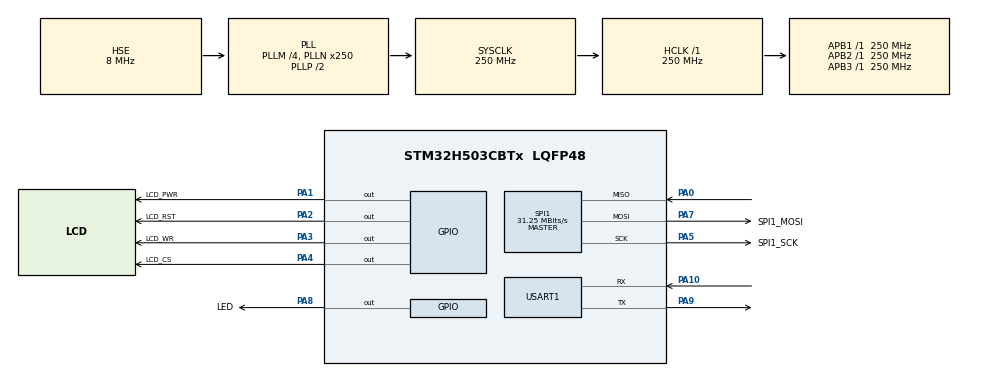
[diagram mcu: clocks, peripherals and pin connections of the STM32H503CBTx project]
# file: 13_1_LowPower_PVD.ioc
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BOOTPATH.BootPathName=LEGACY
BOOTPATH.UserSelectedBootPath=LEGACY
Mcu.Family=STM32H5
Mcu.Name=STM32H503CBTx
Mcu.Package=LQFP48
NVIC.PriorityGroup=NVIC_PRIORITYGROUP_4
NVIC.USART1_IRQn=true\:3\:0\:true\:false\:true\:true\:true\:true
PA0.Mode=Full_Duplex_Master
PA0.Signal=SPI1_MISO
PA1.GPIO_Label=LCD_PWR
PA1.GPIO_PuPd=GPIO_PULLUP
PA1.GPIO_Speed=GPIO_SPEED_FREQ_HIGH
PA1.PinState=GPIO_PIN_SET
PA1.Signal=GPIO_Output
PA10.GPIO_PuPd=GPIO_NOPULL
PA10.Mode=Asynchronous
PA10.Signal=USART1_RX
PA2.GPIO_Label=LCD_RST
PA2.GPIO_PuPd=GPIO_PULLUP
PA2.GPIO_Speed=GPIO_SPEED_FREQ_HIGH
PA2.PinState=GPIO_PIN_SET
PA2.Signal=GPIO_Output
PA3.GPIO_Label=LCD_WR
PA3.GPIO_ModeDefaultOutputPP=GPIO_MODE_OUTPUT_PP
PA3.GPIO_PuPd=GPIO_PULLUP
PA3.GPIO_Speed=GPIO_SPEED_FREQ_HIGH
PA3.PinState=GPIO_PIN_SET
PA3.Signal=GPIO_Output
PA4.GPIO_Label=LCD_CS
PA4.GPIO_PuPd=GPIO_PULLUP
PA4.GPIO_Speed=GPIO_SPEED_FREQ_HIGH
PA4.PinState=GPIO_PIN_SET
PA4.Signal=GPIO_Output
PA5.GPIO_Label=SPI1_SCK
PA5.GPIO_PuPd=GPIO_PULLUP
PA5.GPIO_Speed=GPIO_SPEED_FREQ_VERY_HIGH
PA5.Mode=Full_Duplex_Master
PA5.Signal=SPI1_SCK
PA7.GPIO_Label=SPI1_MOSI
PA7.GPIO_PuPd=GPIO_PULLUP
PA7.GPIO_Speed=GPIO_SPEED_FREQ_VERY_HIGH
PA7.Mode=Full_Duplex_Master
PA7.Signal=SPI1_MOSI
PA8.GPIO_Label=LED
PA8.GPIO_ModeDefaultOutputPP=GPIO_MODE_OUTPUT_PP
PA8.GPIO_PuPd=GPIO_PULLUP
PA8.PinState=GPIO_PIN_SET
PA8.Signal=GPIO_Output
PA9.GPIO_Speed=GPIO_SPEED_FREQ_HIGH
PA9.Mode=Asynchronous
PA9.Signal=USART1_TX
PC14-OSC32_IN(OSC32_IN).Mode=LSE-External-Oscillator
PC14-OSC32_IN(OSC32_IN).Signal=RCC_OSC32_IN
PC15-OSC32_OUT(OSC32_OUT).Mode=LSE-External-Oscillator
PC15-OSC32_OUT(OSC32_OUT).Signal=RCC_OSC32_OUT
PH0-OSC_IN(PH0).Mode=HSE-External-Oscillator
PH0-OSC_IN(PH0).Signal=RCC_OSC_IN
PH1-OSC_OUT(PH1).Mode=HSE-External-Oscillator
PH1-OSC_OUT(PH1).Signal=RCC_OSC_OUT
ProjectManager.HeapSize=0x200
ProjectManager.StackSize=0x400
ProjectManager.TargetToolchain=STM32CubeIDE
RCC.ADCFreq_Value=250000000
RCC.AHBFreq_Value=250000000
RCC.APB1Freq_Value=250000000
RCC.APB1TimFreq_Value=250000000
RCC.APB2Freq_Value=250000000
RCC.APB2TimFreq_Value=250000000
RCC.APB3Freq_Value=250000000
RCC.CSI_VALUE=4000000
RCC.CortexFreq_Value=250000000
RCC.EPOD_VALUE=8000000
RCC.HCLKFreq_Value=250000000
RCC.HSE_VALUE=8000000
RCC.HSI48_VALUE=48000000
RCC.HSI_VALUE=64000000
RCC.LSIRC_VALUE=32000
RCC.PLLM=4
RCC.PLLN=250
RCC.PLLSourceVirtual=RCC_PLL1_SOURCE_HSE
RCC.SYSCLKFreq_VALUE=250000000
RCC.SYSCLKSource=RCC_SYSCLKSOURCE_PLLCLK
RCC.USBFreq_Value=48000000
RCC.VCOOutputFreq_Value=500000000
SPI1.BaudRatePrescaler=SPI_BAUDRATEPRESCALER_8
SPI1.CalculateBaudRate=31.25 MBits/s
SPI1.DataSize=SPI_DATASIZE_8BIT
SPI1.Direction=SPI_DIRECTION_2LINES
SPI1.Mode=SPI_MODE_MASTER
SPI1.VirtualType=VM_MASTER
USART1.VirtualMode=VM_ASYNC
VP_BOOTPATH_VS_BOOTPATH.Mode=BP_Activate
VP_ICACHE_VS_ICACHE.Mode=DefaultMode
VP_MEMORYMAP_VS_MEMORYMAP.Mode=CurAppReg
VP_PWR_VS_DBSignals.Mode=DisableDeadBatterySignals
VP_PWR_VS_LPOM.Mode=PowerOptimisation
VP_PWR_VS_SECSignals.Mode=Security/Privilege
board=custom

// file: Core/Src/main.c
/**
 ****************************************************************************************************
 * @file        main.c
 * @author      ALIENTEK
 * @brief       PVD voltage monitoring code
 * @license     Copyright (C) 2012-2024, ALIENTEK
 ****************************************************************************************************
 * @attention
 *
 * platform     : ALIENTEK M48-STM32H503 board
 * website      : www.alientek.com
 * forum        : www.openedv.com/forum.php
 *
 * change logs  ：
 * version      data         notes
 * V1.0         20240309     the first version
 *
 ****************************************************************************************************
 */

/* USER CODE BEGIN Header */

/* USER CODE END Header */
#include "main.h"
#include "icache.h"
#include "memorymap.h"
#include "spi.h"
#include "usart.h"
#include "gpio.h"

/* USER CODE BEGIN Includes */
#include "stdio.h"
#include "../../BSP/PWR/pwr.h"
#include "../../BSP/LED/led.h"
#include "../../BSP/LCD/lcd.h"
/* USER CODE END Includes */

void SystemClock_Config(void);

/* USER CODE BEGIN 0 */
/**
 * @brief   Displays information about the experiment
 * @param   None
 * @retval  None
 */
void stm32h503cb_show_mesg(void)
{
	/* The serial port outputs the experimental information */
	printf("\n");
	printf("********************************\r\n");
	printf("STM32H503\r\n");
	printf("PVD Test\r\n");
	printf("ATOM@ALIENTEK\r\n");
	printf("********************************\r\n");
	printf("\r\n");
}
/* USER CODE END 0 */

int main(void)
{
  /* USER CODE BEGIN 1 */
	uint8_t t = 0;
  /* USER CODE END 1 */

  /* MCU Configuration--------------------------------------------------------*/

  /* Reset of all peripherals, Initializes the Flash interface and the Systick. */
  HAL_Init();

  /* Configure the system clock */
  SystemClock_Config();

  /* Initialize all configured peripherals */
  MX_GPIO_Init();
  MX_ICACHE_Init();
  MX_SPI1_Init();
  MX_USART1_UART_Init();
  /* USER CODE BEGIN 2 */
  pwr_pvd_init(PWR_PVDLEVEL_5);
  stm32h503cb_show_mesg();
  lcd_init();
  lcd_show_string(0, 5, 240, 32, 32, "STM32H503CBT6", RED);
  lcd_show_string(0, 34, 240, 24, 24, "PVD", RED);
  lcd_show_string(0, 60, 240, 16, 16, "ATOM@ALIENTEK", RED);
  /* The default LCD display voltage is normal */
  lcd_show_string(30, 110, 200, 16, 16, "PVD Voltage OK! ", BLUE);
  /* USER CODE END 2 */

  /* Infinite loop */
  /* USER CODE BEGIN WHILE */
  while (1)
  {
	  if ((t % 20) == 0)
	  {
	      LED_TOGGLE();   /* LED state is flipped */
	  }

	  t++;
	  HAL_Delay(500);

    /* USER CODE END WHILE */

  }
}

void SystemClock_Config(void)
{
  RCC_OscInitTypeDef RCC_OscInitStruct = {0};
  RCC_ClkInitTypeDef RCC_ClkInitStruct = {0};

  /** Configure the main internal regulator output voltage
  */
  __HAL_PWR_VOLTAGESCALING_CONFIG(PWR_REGULATOR_VOLTAGE_SCALE0);

  while(!__HAL_PWR_GET_FLAG(PWR_FLAG_VOSRDY)) {}

  /** Initializes the RCC Oscillators according to the specified parameters
  * in the RCC_OscInitTypeDef structure.
  */
  RCC_OscInitStruct.OscillatorType = RCC_OSCILLATORTYPE_HSE;
  RCC_OscInitStruct.HSEState = RCC_HSE_ON;
  RCC_OscInitStruct.PLL.PLLState = RCC_PLL_ON;
  RCC_OscInitStruct.PLL.PLLSource = RCC_PLL1_SOURCE_HSE;
  RCC_OscInitStruct.PLL.PLLM = 4;
  RCC_OscInitStruct.PLL.PLLN = 250;
  RCC_OscInitStruct.PLL.PLLP = 2;
  RCC_OscInitStruct.PLL.PLLQ = 2;
  RCC_OscInitStruct.PLL.PLLR = 2;
  RCC_OscInitStruct.PLL.PLLRGE = RCC_PLL1_VCIRANGE_1;
  RCC_OscInitStruct.PLL.PLLVCOSEL = RCC_PLL1_VCORANGE_WIDE;
  RCC_OscInitStruct.PLL.PLLFRACN = 0;
  if (HAL_RCC_OscConfig(&RCC_OscInitStruct) != HAL_OK)
  {
    Error_Handler();
  }

  /** Initializes the CPU, AHB and APB buses clocks
  */
  RCC_ClkInitStruct.ClockType = RCC_CLOCKTYPE_HCLK|RCC_CLOCKTYPE_SYSCLK
                              |RCC_CLOCKTYPE_PCLK1|RCC_CLOCKTYPE_PCLK2
                              |RCC_CLOCKTYPE_PCLK3;
  RCC_ClkInitStruct.SYSCLKSource = RCC_SYSCLKSOURCE_PLLCLK;
  RCC_ClkInitStruct.AHBCLKDivider = RCC_SYSCLK_DIV1;
  RCC_ClkInitStruct.APB1CLKDivider = RCC_HCLK_DIV1;
  RCC_ClkInitStruct.APB2CLKDivider = RCC_HCLK_DIV1;
  RCC_ClkInitStruct.APB3CLKDivider = RCC_HCLK_DIV1;

  if (HAL_RCC_ClockConfig(&RCC_ClkInitStruct, FLASH_LATENCY_5) != HAL_OK)
  {
    Error_Handler();
  }
}

void Error_Handler(void)
{
  __disable_irq();
  while (1)
  {
  }
}
